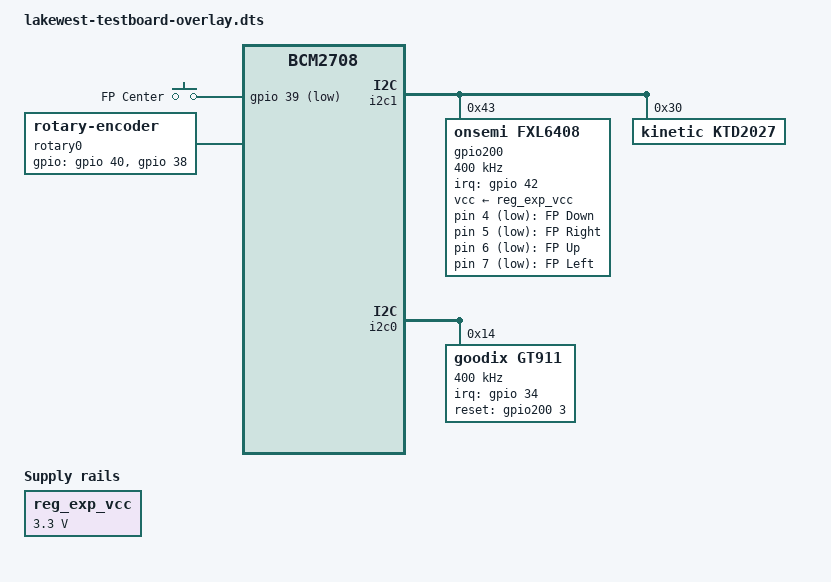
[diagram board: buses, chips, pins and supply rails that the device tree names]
/dts-v1/;
/plugin/;

/{
  compatible = "brcm,bcm2708";

  fragment@0 {
    target = <&soc>;

    __overlay__ {
      reg_exp_vcc: fixedregulator0 {
        compatible = "regulator-fixed";
        regulator-name = "reg_exp_vcc";
        regulator-min-microvolt = <3300000>;
        regulator-max-microvolt = <3300000>;
        regulator-boot-on;
      };
    };
  };

  fragment@1 {
    target = <&gpio>;

    __overlay__ {
      exp_gpios: exp_gpios {
        brcm,pins = <42>;
        brcm,function = <0>;
        brcm,pull = <2>;
      };

      goodix_gpios: goodix_gpios {
        brcm,pins = <34>;
        brcm,function = <0>;
        brcm,pull = <1>;
      };

      encoder_gpios: encoder_gpios {
        brcm,pins = <38 40>;
        brcm,function = <0 0>;
        brcm,pull = <2 2>;
      };
    };
  };

  fragment@2 {
    target = <&i2c1>;

    __overlay__ {
      status = "okay";
      #address-cells = <1>;
      #size-cells = <0>;

      gpio200: gpio@43 {
        compatible = "onsemi,fxl6408";
        reg = <0x43>;
        pinctrl-names = "default";
        pinctrl-0 = <&exp_gpios>;
        clock-frequency = <400000>;
        interrupt-parent = <&gpio>;
        interrupts = <42 2>;
        interrupt-controller;
        #interrupt-cells = <2>;
        vcc-supply = <&reg_exp_vcc>;
        gpio-controller;
        #gpio-cells = <2>;
        gpio-line-names = "NC", "RST_DISP", "LCD_EN", "RST_TOUCH", "BTN_DOWN", "BTN_RIGHT", "BTN_UP", "BTN_LEFT";

        unused_line {
          gpio-hog;
          gpios = <0 0>;
          output-low;
        };

        rst_disp_line {
          gpio-hog;
          gpios = <1 0>;
          output-high;
        };

        lcd_en_line {
          gpio-hog;
          gpios = <2 0>;
          output-high;
        };
      };

      ktd2027: ktd2027@30 {
        compatible = "kinetic,ktd2027";
        reg = <0x30>;
        #address-cells = <1>;
        #size-cells = <0>;

        backlight@0 {
          label = "backlight";
          reg = <0>;
          linux,default-trigger = "none";
        };

        backlight@1 {
          label = "green";
          reg = <1>;
          linux,default-trigger = "none";
        };

        backlight@2 {
          label = "red";
          reg = <2>;
          linux,default-trigger = "none";
        };

        backlight@3 {
          label = "blue";
          reg = <3>;
          linux,default-trigger = "none";
        };
      };
    };
  };

  fragment@3 {
    target = <&i2c0>;

    __overlay__ {
      status = "okay";
      #address-cells = <1>;
      #size-cells = <0>;

      gt911: gt911@14 {
        compatible = "goodix,gt911";
        reg = <0x14>;
        pinctrl-names = "default";
        pinctrl-0 = <&goodix_gpios>;
        clock-frequency = <400000>;
        interrupt-parent = <&gpio>;
        interrupts = <34 1>;
        irq-gpios = <&gpio 34 0>;
        reset-gpios = <&gpio200 3 0>;
      };
    };
  };
  
  fragment@4 {
    target = <&soc>;
    __overlay__ {
      front_keypad: keypad {
        compatible = "gpio-keys";
        #address-cells = <1>;
        #size-cells = <0>;
        button_south {
          label = "FP Down";
          linux,code = <0x130>; /* BTN_SOUTH */
          gpios = <&gpio200 4 1>;
        };
        button_east {
          label = "FP Right";
          linux,code = <0x131>; /* BTN_EAST */
          gpios = <&gpio200 5 1>;
        };
        button_north {
          label = "FP Up";
          linux,code = <0x133>; /* BTN_NORTH */
          gpios = <&gpio200 6 1>;
        };
        button_west {
          label = "FP Left";
          linux,code = <0x134>; /* BTN_WEST */
          gpios = <&gpio200 7 1>;
        };
        button_center {
          label = "FP Center";
          linux,code = <0x132>; /* BTN_C */
          gpios = <&gpio 39 1>;
        };
      };

      rotary0: rotary0 {
        compatible = "rotary-encoder";
        status = "okay";
        pinctrl-names = "default";
        pinctrl-0 = <&encoder_gpios>;
        gpios = <&gpio 40 0>, <&gpio 38 0>;
        linux,axis = <7>; /* REL_DIAL */
        rotary-encoder,encoding = "gray";
        rotary-encoder,relative-axis;
        rotary-encoder,steps-per-period = <2>;
      };
    };
  };
};
